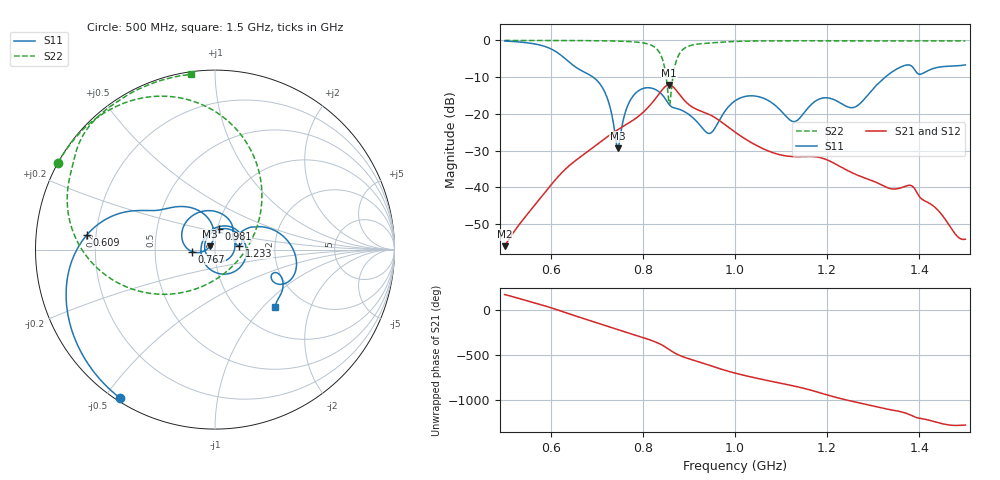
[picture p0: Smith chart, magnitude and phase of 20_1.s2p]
! TOUCHSTONE file generated by CST MICROWAVE STUDIO
! Date and time: Fri Oct  2 18:39:15 2020
! Project name: Scenario_1_Free_Space_out_of_line.cst
! Parameters = {Lambda=346.42; Step_1=17.321; dy1=18.161; dx1=173; L_HA=400; MT=2.54; Rad_Dielectric=30; Rad_Lower=7.3; Rad_Upper=30; a_HA=580; a_WG=246; b_HA=500; b_WG=121; c_HA=0; c_WG=187; d_feed=85; h_feed=15; h_lower=18; h_upper=40}
! Header version: 2018
! Port assignment regex: !\s*Touchstone port\s*([0-9]+)\s*=\s*(CST MWS port|CST DS port)\s*([0-9]+|Zmin|Zmax)\s*\(\"(.*)\"\)(\s*mode\s*([0-9]+))?.*
! Touchstone port assignment:
! Touchstone port 1 = CST MWS port 1 ("")
! Touchstone port 2 = CST MWS port 2 ("")
# GHz S DB R 50
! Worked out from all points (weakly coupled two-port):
!   1003 points, 500 MHz to 1.5 GHz, reference 50 ohm
!   highest |S21| = -12.10 dB at 857 MHz (marker M1); lowest = -56.1 dB at 500 MHz (marker M2)
!   lowest |S11| = -29.4 dB at 746 MHz (marker M3), VSWR 1.07, Z = 47.2 + j1.71 ohm
!   |S11| at or under -10 dB: 691.9 MHz to 1.326 GHz (634.1 MHz wide, 62.8 % of centre)
!   |S22| runs from -17.4 to 0.0 dB; largest |S21 - S12| = 1.7e-05
!   S11 on the Smith chart (normalised r, x): 500 MHz: 0.01, -0.55; 609 MHz: 0.16, +0.06; 767 MHz: 0.77, -0.02; 981 MHz: 1.01, +0.23; 1.233 GHz: 1.31, +0.06; 1.5 GHz: 1.44, -1.18
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0.5  -0.16 -122.7  -56.06 169.0  -56.06 169.0  -0.01 151.1
0.566  -0.97 -156.6  -44.76 75.0  -44.76 75.0  -0.01 146.6
0.609  -2.88 173.4  -38.13 9.0  -38.13 9.0  -0.02 143.3
0.667  -8.24 145.5  -31.51 -89.9  -31.51 -89.9  -0.05 138.3
0.716  -13.71 107.1  -26.89 -169.2  -26.89 -169.1  -0.11 132.7
0.746  -29.43 147.7  -24.30 140.1  -24.30 140.1  -0.19 128.2
0.767  -17.80 -175.1  -22.72 105.6  -22.72 105.6  -0.29 124.0
0.834  -13.88 78.8  -14.77 -11.4  -14.77 -11.4  -2.89 83.9
0.847  -15.59 54.9  -12.76 -46.7  -12.76 -46.7  -7.26 53.2
0.857  -17.43 42.0  -12.10 -80.0  -12.10 -80.0  -17.16 -29.2
0.869  -18.42 30.9  -13.08 -118.7  -13.08 -118.7  -7.28 -145.6
0.89  -19.39 -2.3  -16.32 -165.9  -16.32 -165.9  -2.16 175.2
0.944  -25.35 -152.2  -20.17 106.4  -20.17 106.4  -0.71 149.6
0.981  -18.81 80.0  -23.20 45.4  -23.20 45.4  -0.39 143.2
1  -16.47 41.7  -24.97 18.7  -24.97 18.7  -0.28 140.4
1.078  -16.82 -71.5  -30.40 -72.0  -30.40 -72.0  -0.12 131.6
1.127  -22.12 178.8  -31.65 -123.5  -31.65 -123.5  -0.10 127.2
1.167  -17.29 73.7  -31.62 -174.2  -31.62 -174.2  -0.11 124.0
1.233  -17.37 9.6  -34.70 91.3  -34.70 91.3  -0.09 119.1
1.334  -9.20 18.2  -40.28 -24.2  -40.28 -24.2  -0.09 111.4
1.384  -7.06 -24.2  -39.63 -93.4  -39.63 -93.4  -0.09 107.5
1.5  -6.67 -43.8  -54.16 162.4  -54.14 162.7  -0.13 97.7
